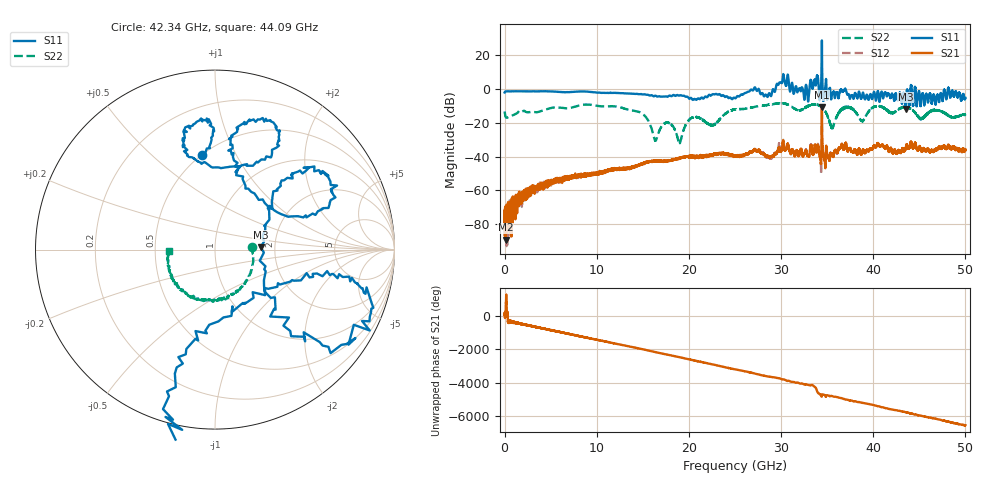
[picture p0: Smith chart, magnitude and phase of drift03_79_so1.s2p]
!Created with skrf (http://scikit-rf.org).
# Hz S RI R 50.0
!freq ReS11 ImS11 ReS21 ImS21 ReS12 ImS12 ReS22 ImS22
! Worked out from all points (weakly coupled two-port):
!   10000 points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, 5.3 MHz to 50 GHz, reference 50 ohm
!   highest |S21| = -10.74 dB at 34.43 GHz (marker M1); lowest = -89.2 dB at 150.3 MHz (marker M2)
!   lowest |S11| = -11.9 dB at 43.52 GHz (marker M3), VSWR 1.68, Z = 83.9 + j2.38 ohm
!   |S11| at or under -10 dB: 43.48356 GHz to 43.54822 GHz (64.66 MHz wide, 0.149 % of centre); 44.31351 GHz to 44.31609 GHz (2.572 MHz wide, 0.0058 % of centre); 44.70768 GHz to 44.71178 GHz (4.097 MHz wide, 0.00916 % of centre) (the widest 3 of 4)
!   |S22| runs from -32.2 to -8.4 dB; largest |S21 - S12| = 0.081
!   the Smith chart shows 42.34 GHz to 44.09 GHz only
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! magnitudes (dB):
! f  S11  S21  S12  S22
! 5.3 MHz  -2.1  -86.5  -71.1  -13.3
! 150.3 MHz  -1.4  -89.2  -84.3  -16.9
! 2.965 GHz  -1.4  -57.6  -60.0  -13.5
! 8.34 GHz  -1.5  -51.5  -50.9  -9.5
! 14.6 GHz  -3.1  -45.1  -45.3  -13.6
! 16.67 GHz  -4.4  -42.9  -42.8  -26.5
! 17.79 GHz  -4.3  -42.7  -42.5  -20.0
! 19 GHz  -3.9  -40.9  -40.9  -32.2
! 20.3 GHz  -5.6  -39.6  -40.1  -17.1
! 22.61 GHz  -3.1  -39.4  -38.8  -21.6
! 25.01 GHz  -5.5  -39.9  -39.7  -12.2
! 28.72 GHz  -2.5  -40.4  -40.2  -9.3
! 30.14 GHz  4.4  -33.7  -33.9  -8.5
! 33.34 GHz  2.6  -35.5  -35.4  -9.3
! 34.43 GHz  28.7  -10.7  -12.6  -10.8
! 35.54 GHz  -3.1  -38.8  -39.0  -23.7
! 36.95 GHz  0.1  -33.2  -33.3  -10.8
! 38.78 GHz  -4.5  -37.6  -37.8  -19.1
! 40.19 GHz  -3.7  -34.3  -34.0  -10.4
! 41.67 GHz  -2.8  -37.0  -36.7  -13.3
! 43.52 GHz  -11.9  -35.2  -35.3  -10.8
! 50 GHz  -5.3  -36.1  -36.3  -15.5
